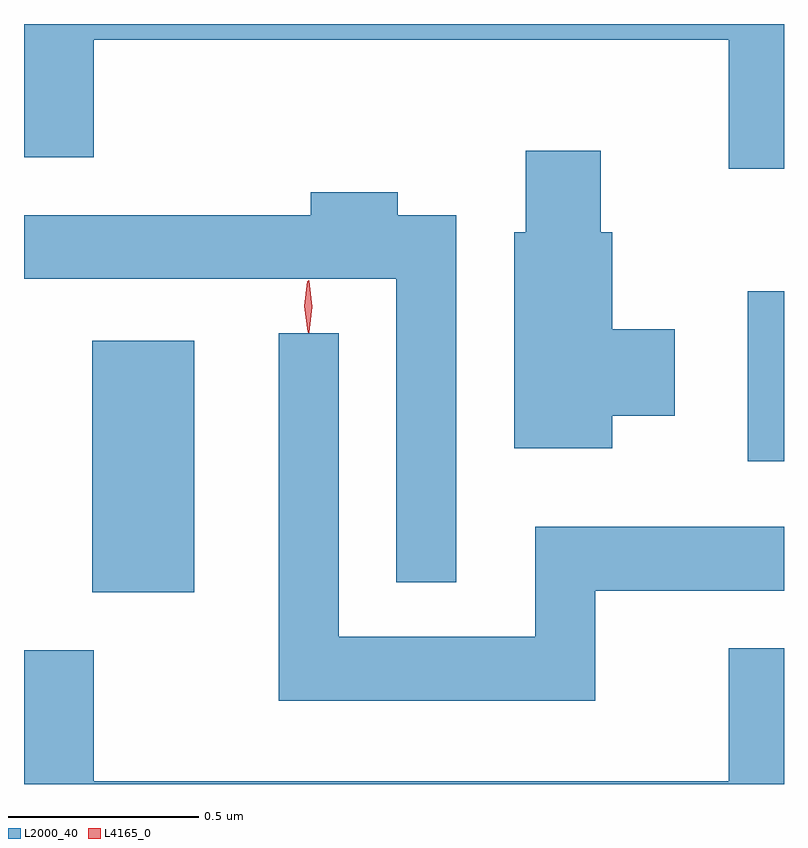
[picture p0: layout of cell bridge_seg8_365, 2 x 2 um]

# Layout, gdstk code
import gdstk
lib = gdstk.Library(unit=1e-6, precision=1e-09)
def R(c, l, rs):  # rectangles x0, y0, x1, y1
    for r in rs: c.add(gdstk.rectangle(r[:2], r[2:], *l))
def P(c, l, *ps):  # polygons
    for p in ps: c.add(gdstk.Polygon(p, *l))
L2000_40 = (2000, 40)
L4165_0 = (4165, 0)

bridge_seg8_365 = lib.new_cell('bridge_seg8_365')
R(bridge_seg8_365, L2000_40, [(726.236,1919.321,726.504,1919.984), (727.961,1919.666,728.056,1920.114)])
P(bridge_seg8_365, L2000_40, [(728.056,1920.817),(726.056,1920.817),(726.056,1920.466),(726.239,1920.466),(726.239,1920.776),(727.911,1920.776),(727.911,1920.436),(728.056,1920.436)],
  [(727.604,1919.786),(727.769,1919.786),(727.769,1920.014),(727.604,1920.014),(727.604,1920.269),(727.574,1920.269),(727.574,1920.484),(727.376,1920.484),(727.376,1920.269),(727.346,1920.269),(727.346,1919.701),(727.604,1919.701)],
  [(727.194,1920.314),(727.039,1920.314),(727.039,1920.374),(726.811,1920.374),(726.811,1920.314),(726.056,1920.314),(726.056,1920.146),(727.036,1920.146),(727.036,1919.348),(727.194,1919.348)],
  [(727.559,1919.326),(728.056,1919.326),(728.056,1919.494),(727.401,1919.494),(727.401,1919.204),(726.884,1919.204),(726.884,1920.003),(726.726,1920.003),(726.726,1919.036),(727.559,1919.036)],
  [(728.056,1919.174),(727.911,1919.174),(727.911,1918.824),(726.239,1918.824),(726.239,1919.169),(726.056,1919.169),(726.056,1918.817),(728.056,1918.817)])
P(bridge_seg8_365, L4165_0, [(726.804,1920.004),(726.795,1920.073),(726.804,1920.142),(726.805,1920.143),(726.806,1920.142),(726.815,1920.073),(726.806,1920.004),(726.805,1920.004)],
  [(726.803,1920.007),(726.803,1920.007),(726.793,1920.074),(726.802,1920.14),(726.803,1920.14),(726.803,1920.14),(726.813,1920.074),(726.804,1920.007)])

lib.write_gds('bridge_seg8_365.gds')
